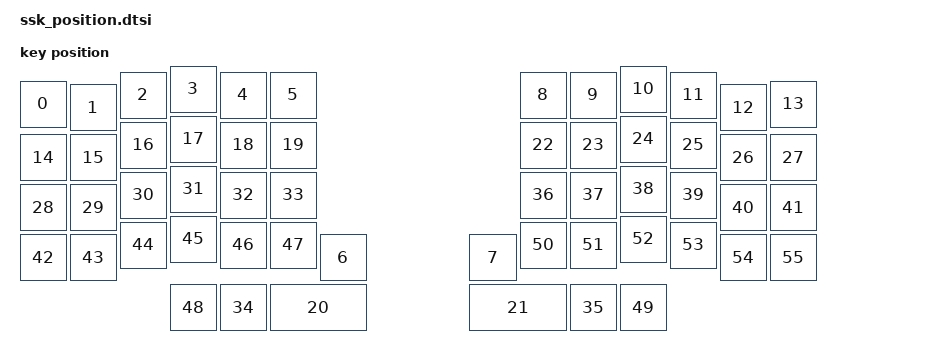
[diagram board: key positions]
#include "ssk_position_map.dtsi"
#include <physical_layouts.dtsi>

/ {
    ssk_layout: ssk_layout {
        compatible = "zmk,physical-layout";
        display-name = "SSK Layout";

        keys  //                     w   h    x    y     rot    rx    ry
            = <&key_physical_attrs 100 100    0   30       0     0     0>
            , <&key_physical_attrs 100 100  100   37       0     0     0>
            , <&key_physical_attrs 100 100  200   12       0     0     0> 
            , <&key_physical_attrs 100 100  300    0       0     0     0>
            , <&key_physical_attrs 100 100  400   12       0     0     0>
            , <&key_physical_attrs 100 100  500   12       0     0     0>
            , <&key_physical_attrs 100 100  600  337       0     0     0>
            , <&key_physical_attrs 100 100  900  337       0     0     0>
            , <&key_physical_attrs 100 100 1000   12       0     0     0>
            , <&key_physical_attrs 100 100 1100   12       0     0     0> 
            , <&key_physical_attrs 100 100 1200    0       0     0     0>
            , <&key_physical_attrs 100 100 1300   12       0     0     0>
            , <&key_physical_attrs 100 100 1400   37       0     0     0>
            , <&key_physical_attrs 100 100 1500   30       0     0     0>
            , <&key_physical_attrs 100 100    0  137       0     0     0>
            , <&key_physical_attrs 100 100  100  137       0     0     0>
            , <&key_physical_attrs 100 100  200  112       0     0     0> 
            , <&key_physical_attrs 100 100  300  100       0     0     0>
            , <&key_physical_attrs 100 100  400  112       0     0     0>
            , <&key_physical_attrs 100 100  500  112       0     0     0>
            , <&key_physical_attrs 200 100  500  437       0     0     0>
            , <&key_physical_attrs 200 100  900  437       0     0     0>
            , <&key_physical_attrs 100 100 1000  112       0     0     0>
            , <&key_physical_attrs 100 100 1100  112       0     0     0> 
            , <&key_physical_attrs 100 100 1200  100       0     0     0>
            , <&key_physical_attrs 100 100 1300  112       0     0     0>
            , <&key_physical_attrs 100 100 1400  137       0     0     0>
            , <&key_physical_attrs 100 100 1500  137       0     0     0>
            , <&key_physical_attrs 100 100    0  237       0     0     0>
            , <&key_physical_attrs 100 100  100  237       0     0     0>
            , <&key_physical_attrs 100 100  200  212       0     0     0> 
            , <&key_physical_attrs 100 100  300  200       0     0     0>
            , <&key_physical_attrs 100 100  400  212       0     0     0>
            , <&key_physical_attrs 100 100  500  212       0     0     0>
            , <&key_physical_attrs 100 100  400  437       0     0     0>
            , <&key_physical_attrs 100 100 1100  437       0     0     0>
            , <&key_physical_attrs 100 100 1000  212       0     0     0>
            , <&key_physical_attrs 100 100 1100  212       0     0     0> 
            , <&key_physical_attrs 100 100 1200  200       0     0     0>
            , <&key_physical_attrs 100 100 1300  212       0     0     0>
            , <&key_physical_attrs 100 100 1400  237       0     0     0>
            , <&key_physical_attrs 100 100 1500  237       0     0     0>
            , <&key_physical_attrs 100 100    0  337       0     0     0>
            , <&key_physical_attrs 100 100  100  337       0     0     0>
            , <&key_physical_attrs 100 100  200  312       0     0     0> 
            , <&key_physical_attrs 100 100  300  300       0     0     0>
            , <&key_physical_attrs 100 100  400  312       0     0     0>
            , <&key_physical_attrs 100 100  500  312       0     0     0>
            , <&key_physical_attrs 100 100  300  437       0     0     0>
            , <&key_physical_attrs 100 100 1200  437       0     0     0>
            , <&key_physical_attrs 100 100 1000  312       0     0     0>
            , <&key_physical_attrs 100 100 1100  312       0     0     0> 
            , <&key_physical_attrs 100 100 1200  300       0     0     0>
            , <&key_physical_attrs 100 100 1300  312       0     0     0>
            , <&key_physical_attrs 100 100 1400  337       0     0     0>
            , <&key_physical_attrs 100 100 1500  337       0     0     0>
        ;
    };
};

&layouts_ssk_position_map {
    layouts_ssk_posmap: seven {
        physical-layout = <&ssk_layout>;
        positions
            = < 0  1  2  3  4  5  6  7  8  9 10 11 12 13>
            , <14 15 16 17 18 19 20 21 22 23 24 25 26 27>
            , <28 29 30 31 32 33 34 35 36 37 38 39 40 41>
            , <42 43 44 45 46 47 48 49 50 51 52 53 54 55>;
    };
};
